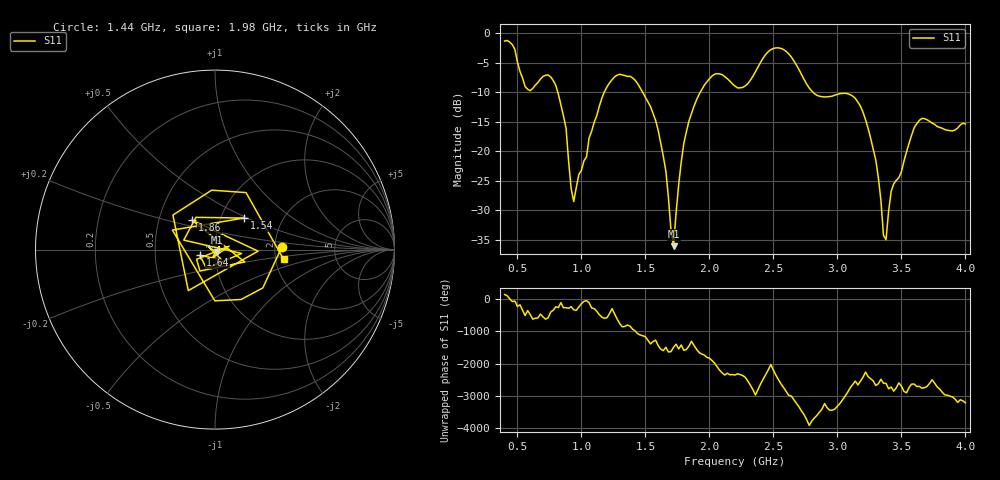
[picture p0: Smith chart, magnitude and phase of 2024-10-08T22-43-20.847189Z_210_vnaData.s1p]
! Created with skrf (http://scikit-rf.org).
# Hz S RI R 50.0
!freq ReS11 ImS11
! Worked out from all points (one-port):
!   181 points, 400 MHz to 4 GHz, reference 50 ohm
!   lowest |S11| = -36.1 dB at 1.72 GHz (marker M1), VSWR 1.03, Z = 50.9 - j1.31 ohm
!   |S11| at or under -10 dB: 815.3 MHz to 1.179 GHz (363.3 MHz wide, 36.4 % of centre); 1.478 GHz to 1.929 GHz (451.3 MHz wide, 26.5 % of centre); 2.808 GHz to end of sweep
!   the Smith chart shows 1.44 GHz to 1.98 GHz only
!   S11 on the Smith chart (normalised r, x): 1.44 GHz: 2.18, +0.06; 1.54 GHz: 1.28, +0.48; 1.64 GHz: 0.84, -0.05; 1.86 GHz: 0.73, +0.25; 1.98 GHz: 2.21, -0.28
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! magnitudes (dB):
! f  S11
! 400 MHz  -1.3
! 480 MHz  -2.7
! 580 MHz  -9.5
! 760 MHz  -7.4
! 860 MHz  -14.0
! 940 MHz  -28.5
! 1.16 GHz  -11.0
! 1.3 GHz  -7.0
! 1.44 GHz  -8.6
! 1.54 GHz  -12.5
! 1.64 GHz  -20.9
! 1.72 GHz  -36.1
! 1.76 GHz  -25.7
! 1.86 GHz  -13.6
! 1.98 GHz  -8.3
! 2.2 GHz  -9.0
! 2.5 GHz  -2.6
! 2.66 GHz  -4.7
! 2.84 GHz  -10.5
! 3.1 GHz  -10.4
! 3.26 GHz  -17.8
! 3.32 GHz  -24.5
! 3.36 GHz  -34.3
! 3.38 GHz  -35.0
! 3.42 GHz  -26.8
! 3.56 GHz  -18.7
! 3.66 GHz  -14.5
! 4 GHz  -15.4
